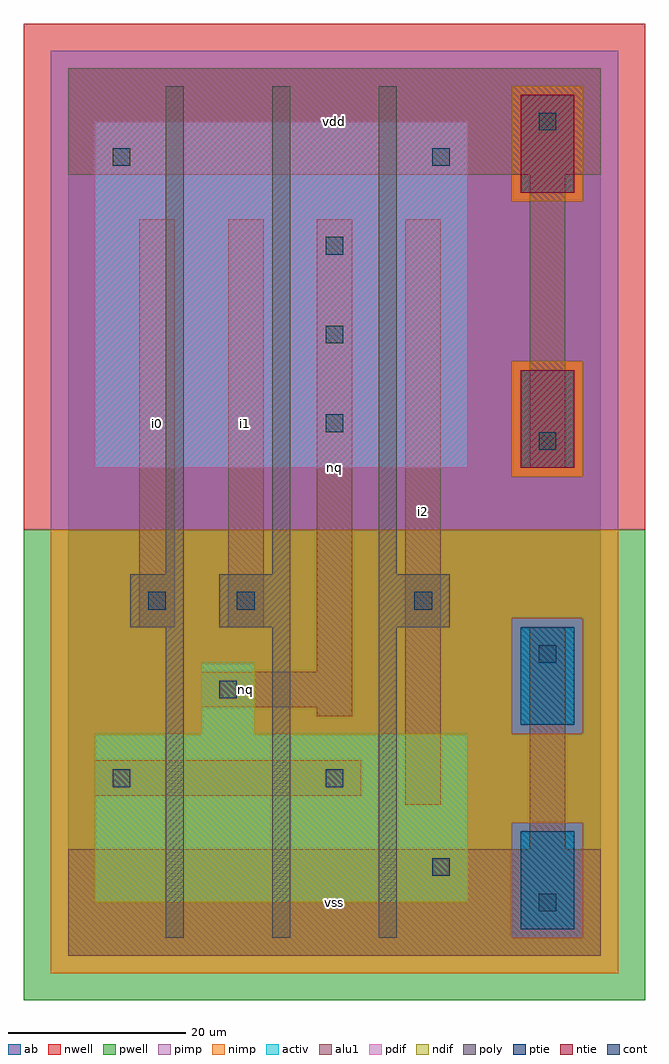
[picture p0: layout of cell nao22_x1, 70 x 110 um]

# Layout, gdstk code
import gdstk
lib = gdstk.Library(unit=1e-6, precision=1e-09)
def R(c, l, rs):  # rectangles x0, y0, x1, y1
    for r in rs: c.add(gdstk.rectangle(r[:2], r[2:], *l))
def A(c, l, x, y, w, h, nx, ny, dx, dy):  # array of equal rectangles
    R(c, l, [(x+i*dx, y+j*dy, x+i*dx+w, y+j*dy+h) for i in range(nx) for j in range(ny)])
ndif = (3, 0)
pdif = (4, 0)
ntie = (5, 0)
ptie = (6, 0)
cont = (25, 0)
pwell = (41, 0)
nwell = (42, 0)
activ = (43, 0)
pimp = (44, 0)
nimp = (45, 0)
poly = (46, 0)
alu1 = (49, 0)
ab = (63, 0)

nao22_x1 = lib.new_cell('nao22_x1')
R(nao22_x1, ndif, [(3,6,45,25), (15,25,21,33)])
R(nao22_x1, pdif, [(3,55,45,94)])
R(nao22_x1, ntie, [(51,55,57,66), (51,86,57,97)])
R(nao22_x1, ptie, [(51,3,57,14), (51,26,57,37)])
A(nao22_x1, cont, 29, 59, 2, 2, 1, 3, 0, 10)
R(nao22_x1, cont, [(53,5,55,7), (41,9,43,11), (5,19,7,21), (29,19,31,21), (17,29,19,31), (53,33,55,35), (9,39,11,41), (19,39,21,41), (39,39,41,41), (53,57,55,59), (5,89,7,91), (41,89,43,91), (53,93,55,95)])
R(nao22_x1, pwell, [(-5,-5,65,48)])
R(nao22_x1, nwell, [(-5,48,65,105)])
R(nao22_x1, activ, [(51,3,57,14), (3,6,45,25), (15,25,21,33), (51,26,57,37), (3,55,45,94), (51,55,57,66), (51,86,57,97)])
R(nao22_x1, pimp, [(50,2,58,15), (50,25,58,38), (-2,48,62,54), (-2,54,50,67), (58,54,62,67), (-2,67,62,85), (-2,85,50,98), (58,85,62,98), (-2,98,62,102)])
R(nao22_x1, nimp, [(-2,-2,62,2), (-2,2,50,15), (58,2,62,15), (-2,15,62,25), (-2,25,50,38), (58,25,62,38), (-2,38,62,48), (50,54,58,67), (50,85,58,98)])
A(nao22_x1, poly, 11, 2, 2, 35, 3, 1, 12, 0)
A(nao22_x1, poly, 11, 43, 2, 55, 3, 1, 12, 0)
R(nao22_x1, poly, [(7,37,13,43), (17,37,25,43), (35,37,43,43)])
R(nao22_x1, alu1, [(0,0,60,12), (52,12,56,37), (38,17,42,83), (3,18,33,22), (28,27,32,28), (15,28,32,32), (28,32,32,83), (8,37,12,83), (18,37,22,83), (52,55,56,88), (0,88,60,100)])
R(nao22_x1, ab, [(0,0,60,100)])
nao22_x1.add(gdstk.Label('i0', (10,60), layer=49, texttype=0))
nao22_x1.add(gdstk.Label('nq', (20,30), layer=49, texttype=0))
nao22_x1.add(gdstk.Label('i1', (20,60), layer=49, texttype=0))
nao22_x1.add(gdstk.Label('vss', (30,6), layer=49, texttype=0))
nao22_x1.add(gdstk.Label('i2', (40,50), layer=49, texttype=0))
nao22_x1.add(gdstk.Label('nq', (30,55), layer=49, texttype=0))
nao22_x1.add(gdstk.Label('vdd', (30,94), layer=49, texttype=0))

lib.write_gds('nao22_x1.gds')
